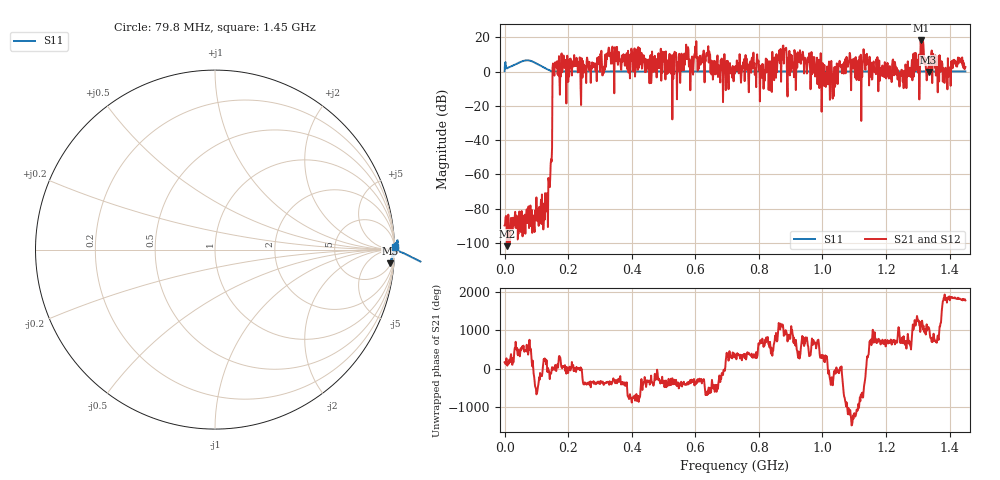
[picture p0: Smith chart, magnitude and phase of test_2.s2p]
! Created with skrf 1.11.0 (http://scikit-rf.org).
# Hz S RI R 50.0
!freq ReS11 ImS11 ReS21 ImS21 ReS12 ImS12 ReS22 ImS22
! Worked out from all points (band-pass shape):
!   1001 points, 50 kHz to 1.45 GHz, reference 50 ohm
!   highest |S21| = 18.16 dB at 1.309 GHz (marker M1); lowest = -101.9 dB at 8.75 MHz (marker M2)
!   |S21| within 3 dB of the highest: 571.2236 MHz to 571.4247 MHz (201.2 kHz wide, 0.0352 % of centre); 1.316115 GHz to 1.318075 GHz (1.959 MHz wide, 0.149 % of centre) (the widest 2 of 5)
!   lowest |S11| = -0.2 dB at 1.334 GHz (marker M3), VSWR 88.93, Z = 345 - j1.19e+03 ohm
!   |S11| at or under -10 dB: nowhere
!   |S22| runs from - to - dB; largest |S21 - S12| = 0
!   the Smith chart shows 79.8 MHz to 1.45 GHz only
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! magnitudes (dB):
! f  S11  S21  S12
! 50 kHz  0.3  -89.8  -89.8
! 8.75 MHz  2.2  -101.9  -101.9
! 129.1 MHz  1.8  -75.8  -75.8
! 142.1 MHz  0.7  -67.4  -67.4
! 158.1 MHz  0.0  5.0  5.0
! 242.2 MHz  0.1  7.8  7.8
! 332.1 MHz  0.1  11.0  11.0
! 484.3 MHz  0.0  10.7  10.7
! 639.5 MHz  0.1  11.5  11.5
! 655.4 MHz  0.1  -4.6  -4.6
! 725 MHz  0.1  -1.2  -1.2
! 841 MHz  0.1  -11.9  -11.9
! 880.2 MHz  0.1  13.2  13.2
! 894.7 MHz  0.0  3.2  3.2
! 967.2 MHz  0.1  -1.6  -1.6
! 1.005 GHz  0.0  -8.3  -8.3
! 1.135 GHz  0.1  1.0  1.0
! 1.209 GHz  0.0  -4.0  -4.0
! 1.26 GHz  0.0  -7.3  -7.3
! 1.309 GHz  0.0  18.2  18.2
! 1.334 GHz  -0.2  2.2  2.2
! 1.45 GHz  0.0  2.6  2.6
